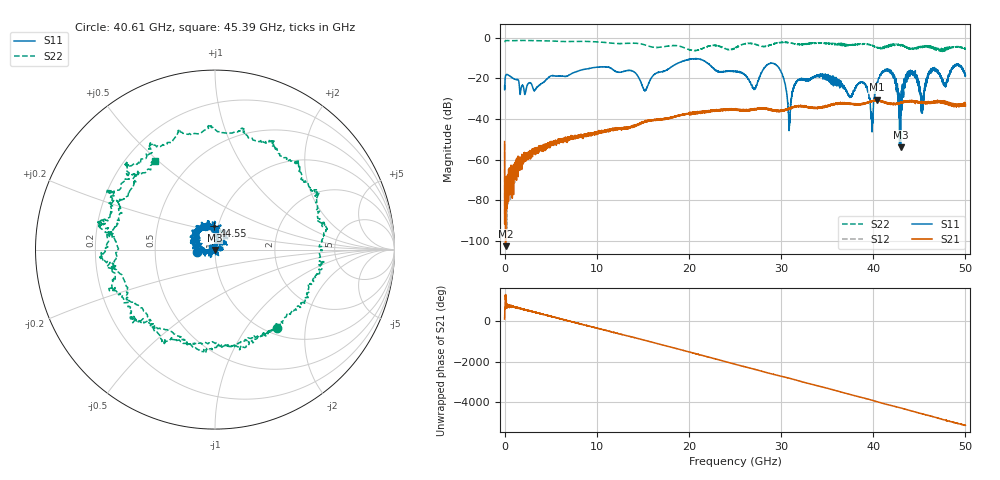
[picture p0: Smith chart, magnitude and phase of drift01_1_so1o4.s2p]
!Created with skrf (http://scikit-rf.org).
# Hz S RI R 50.0
!freq ReS11 ImS11 ReS21 ImS21 ReS12 ImS12 ReS22 ImS22
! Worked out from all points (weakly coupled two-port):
!   10001 points, 300 kHz to 50 GHz, reference 50 ohm
!   highest |S21| = -30.52 dB at 40.41 GHz (marker M1); lowest = -102.6 dB at 105.3 MHz (marker M2)
!   lowest |S11| = -53.9 dB at 42.97 GHz (marker M3), VSWR 1.00, Z = 49.9 - j0.156 ohm
!   |S11| at or under -10 dB: start of sweep to end of sweep
!   |S22| runs from -6.8 to -1.4 dB; largest |S21 - S12| = 0.0041
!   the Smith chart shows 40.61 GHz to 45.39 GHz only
!   S11 on the Smith chart (normalised r, x): 40.61 GHz: 0.82, -0.02; 44.55 GHz: 0.96, +0.25; 45.39 GHz: 0.96, +0.02
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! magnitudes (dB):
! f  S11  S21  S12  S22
! 300 kHz  -23.8  -51.1  -52.3  -2.1
! 105.3 MHz  -18.7  -102.6  -80.3  -1.5
! 8.335 GHz  -15.9  -48.7  -48.1  -1.8
! 13.77 GHz  -16.2  -43.9  -44.3  -2.8
! 15.23 GHz  -26.1  -41.6  -41.4  -3.6
! 16.67 GHz  -17.0  -40.5  -40.5  -4.8
! 25 GHz  -16.6  -35.4  -35.6  -5.1
! 27.11 GHz  -25.0  -35.1  -35.4  -3.2
! 29.41 GHz  -13.1  -35.8  -35.9  -2.8
! 30.9 GHz  -41.8  -34.5  -34.9  -2.5
! 31.66 GHz  -21.8  -33.8  -33.6  -3.1
! 33.34 GHz  -19.9  -34.5  -34.3  -2.6
! 38.91 GHz  -22.1  -32.6  -32.4  -3.0
! 39.84 GHz  -42.4  -31.0  -31.1  -3.8
! 40.41 GHz  -22.1  -30.5  -30.9  -4.8
! 40.61 GHz  -19.9  -31.0  -30.9  -5.1
! 41.67 GHz  -16.4  -32.4  -32.5  -4.5
! 42.97 GHz  -53.9  -31.9  -32.0  -3.9
! 44.55 GHz  -17.7  -31.4  -31.7  -5.4
! 45.39 GHz  -33.1  -32.0  -32.3  -4.5
! 46.42 GHz  -15.3  -32.2  -32.0  -4.8
! 50 GHz  -18.5  -33.6  -33.0  -5.4
